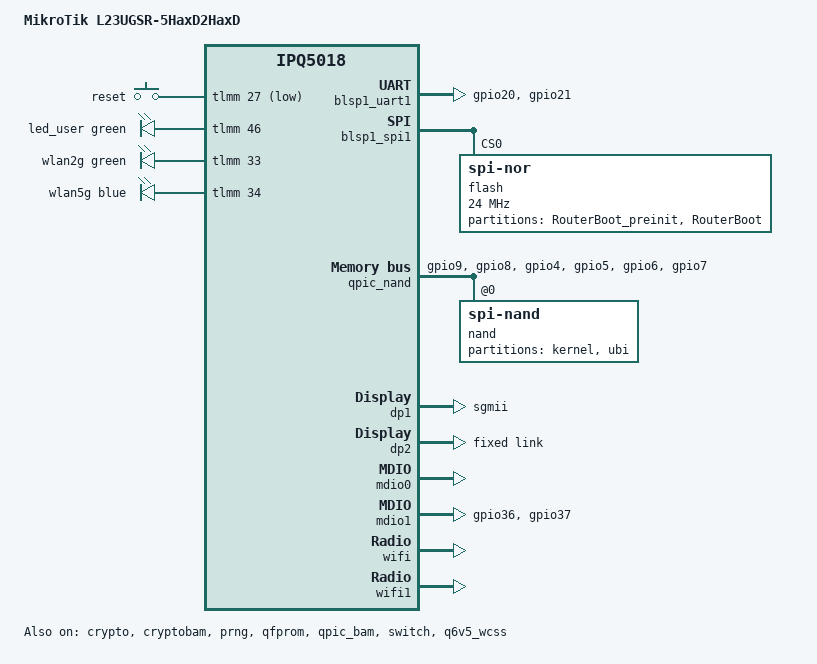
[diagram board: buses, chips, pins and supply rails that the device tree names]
// SPDX-License-Identifier: GPL-2.0-or-later OR MIT
/*
 * DRAFT device tree for MikroTik L23UGSR-5HaxD2HaxD
 * SoC: Qualcomm IPQ-5010 (IPQ5018-class "Maple")  ->  qualcommax/ipq50xx, SOC=ipq5018
 * Radios: 2.4GHz integrated IPQ5018 (ath11k) + 5GHz QCN-6102 (treated as QCN6122, AHB)
 * Storage: NOR (RouterBOOT + hard/soft_config)  +  128MB Winbond W25N01GW spi-nand (kernel+ubi)
 * Bootloader: MikroTik RouterBOOT (netboot ELF over BOOTP/TFTP; permanent kernel in UBI volume)
 *
 * NOTE: This is a DRAFT. Every value that needs a live-hardware recon dump is marked
 *       /* TODO(recon): ... *\/ with the best guess and the reference it was copied from.
 *       See RECON-CHECKLIST.md for exactly how to resolve each one.
 *
 * Template lineage:
 *   - SoC/radio/eth : ipq5018-mr3000d-ci.dts (IPQ5018 2.4G + QCN6102 5G) + ipq5018-ax830.dts
 *   - RouterBOOT    : qcom-ipq4019-hap-ac3.dts (MikroTik NAND, routerboot-partitions, nvmem MAC)
 *
 * CONFIRMED from live box 192.168.0.134 (RouterOS 7.18.2 REST) — see RECON-LIVE-ROUTEROS.md:
 *   - board-name/model = "L23UGSR-5HaxD2HaxD"; firmware-type ipq5000 (IPQ5010/IPQ5018-class)
 *   - RAM 256MB; NAND 128MB (bad-blocks 0); CPU ARM 2 cores @800MHz
 *   - RouterBOOT 7.16.1; boot-protocol=bootp (netboot via BOOTP+TFTP)
 *   - base MAC F4:1E:57:9F:F5:00 :  ether1=+0  sfp1=+1  radio1(2.4G)=+2  radio2(5G)=+3
 *
 * PIVOTAL RISK (confirmed-open): RouterOS userland is **32-bit ARM** while qualcommax/ipq50xx
 * is **aarch64-only**. It is unverified whether RouterBOOT hands the kernel off in AArch64
 * (64-bit kernel boots fine) or AArch32 (this DTS/target would not boot as-is). Resolve at
 * first serial netboot before trusting anything below.
 */

/dts-v1/;

#include "ipq5018.dtsi"
#include "ipq5018-ess.dtsi"
#include "ipq5018-qcn6122.dtsi"

#include <dt-bindings/gpio/gpio.h>
#include <dt-bindings/input/input.h>
#include <dt-bindings/leds/common.h>

/ {
	model = "MikroTik L23UGSR-5HaxD2HaxD";
	compatible = "mikrotik,l23ugsr-5haxd2haxd", "qcom,ipq5018";

	aliases {
		serial0 = &blsp1_uart1;
		/*
		 * TODO(recon): confirm which LED is the system/status LED and its color.
		 * Best guess from MikroTik hAP ac3: a blue "running" + red "fault".
		 */
		led-boot = &led_user;
		led-failsafe = &led_user;
		led-running = &led_user;
		led-upgrade = &led_user;
		label-mac-device = &dp1;
	};

	chosen {
		/*
		 * ipq50xx UBI rootfs. ubiblock index depends on the volume order created by
		 * the MikroTik NAND recipe; AX830/MR3000D-CI use ubiblock0_1. Verify after first
		 * NAND install. TODO(recon): confirm ubiblockN_M index.
		 */
		bootargs-append = " root=/dev/ubiblock0_1 swiotlb=1 coherent_pool=2M";
		stdout-path = "serial0:115200n8";
	};

	keys {
		compatible = "gpio-keys";
		pinctrl-0 = <&button_pins>;
		pinctrl-names = "default";

		/*
		 * TODO(recon): MikroTik boards typically have a single mode/reset button wired
		 * to RouterBOOT. Confirm GPIO number and active level.
		 * Best guess GPIO from ipq5018 boards: reset on a tlmm gpio in the 27..38 range.
		 */
		reset {
			label = "reset";
			gpios = <&tlmm 27 GPIO_ACTIVE_LOW>; /* TODO(recon): real GPIO (guess: hAP-style mode/reset) */
			linux,code = <KEY_RESTART>;
		};
	};

	leds {
		compatible = "gpio-leds";

		/*
		 * TODO(recon): real LED gpios + colors + functions. MikroTik L-series usually
		 * have a "user" LED plus per-interface LEDs. Values below are placeholders copied
		 * structurally from ipq5018-mr3000d-ci.dts (gpio-leds, ACTIVE_HIGH).
		 */
		led_user: led-0 {
			function = LED_FUNCTION_STATUS;        /* TODO(recon) */
			color = <LED_COLOR_ID_GREEN>;          /* TODO(recon) */
			gpios = <&tlmm 46 GPIO_ACTIVE_HIGH>;   /* TODO(recon): real GPIO */
		};

		wlan2g {
			function = LED_FUNCTION_WLAN_2GHZ;
			color = <LED_COLOR_ID_GREEN>;
			gpios = <&tlmm 33 GPIO_ACTIVE_HIGH>;   /* TODO(recon): real GPIO (guess from AX830 gpio33) */
			linux,default-trigger = "phy0radio";
		};

		wlan5g {
			function = LED_FUNCTION_WLAN_5GHZ;
			color = <LED_COLOR_ID_BLUE>;
			gpios = <&tlmm 34 GPIO_ACTIVE_HIGH>;   /* TODO(recon): real GPIO (guess from AX830 gpio34) */
			linux,default-trigger = "phy1radio";
		};
	};
};

&sleep_clk {
	clock-frequency = <32000>;
};

&xo_board_clk {
	clock-div = <4>;
	clock-mult = <1>;
};

&blsp1_uart1 {
	status = "okay";
	pinctrl-0 = <&serial_0_pins>;
	pinctrl-names = "default";
};

&crypto {
	status = "okay";
};

&cryptobam {
	status = "okay";
};

&prng {
	status = "okay";
};

&qfprom {
	status = "okay";
};

&qpic_bam {
	status = "okay";
};

/*
 * =====================================================================
 *  NOR flash on BLSP1 SPI1: MikroTik RouterBOOT + hard_config/soft_config
 *  Pattern copied from qcom-ipq4019-hap-ac3.dts. The routerbootpart parser
 *  discovers hard/soft/dtb_config offsets dynamically, so only the outer
 *  "RouterBoot" partition reg + the hard_config size need to be (roughly) right.
 * =====================================================================
 */
&blsp1_spi1 {
	status = "okay";

	/* TODO(recon): confirm CS gpio if RouterBOOT NOR needs an explicit chip-select.
	 * hAP ac3 uses cs-gpios = <&tlmm 12 GPIO_ACTIVE_LOW>; ipq5018 SoC CS may be native. */

	flash@0 {
		reg = <0>;
		compatible = "jedec,spi-nor";
		spi-max-frequency = <24000000>; /* TODO(recon): RouterBOOT NOR speed (hAP ac3 = 24MHz) */

		partitions {
			compatible = "fixed-partitions";
			#address-cells = <1>;
			#size-cells = <1>;

			/*
			 * TODO(recon): exact NOR partition offsets/sizes from `cat /proc/mtd`
			 * on the live box. Below mirrors hAP ac3 (0x80000 boot loader, 0x80000
			 * RouterBoot) which is the most likely MikroTik ARM layout.
			 */
			partition@0 {
				label = "RouterBoot_preinit"; /* MikroTik calls it "Qualcomm"/loader; TODO(recon) */
				reg = <0x0 0x80000>;          /* TODO(recon): real offset/size */
				read-only;
			};

			partition@80000 {
				compatible = "mikrotik,routerboot-partitions";
				#address-cells = <1>;
				#size-cells = <1>;
				label = "RouterBoot";
				reg = <0x80000 0x80000>;      /* TODO(recon): real offset/size of RouterBoot segment */

				hard_config {
					read-only;
					size = <0x2000>;          /* hAP ac3 value; routerbootpart finds the offset */

					nvmem-layout {
						compatible = "mikrotik,routerboot-nvmem";

						macaddr_hard: base-mac-address {
							#nvmem-cell-cells = <1>;
						};
					};
				};

				dtb_config {
					read-only;
				};

				soft_config {
				};
			};
		};
	};
};

/*
 * =====================================================================
 *  NAND: Winbond W25N01GW (128MB) under QPIC. spi-nand binding from AX830;
 *  fixed "kernel"+"ubi" layout from hAP ac3 (RouterBOOT loads the ELF kernel
 *  from the "kernel" UBI volume; rootfs lives in "ubi").
 * =====================================================================
 */
&qpic_nand {
	pinctrl-0 = <&qpic_pins>;
	pinctrl-names = "default";
	status = "okay";

	nand@0 {
		compatible = "spi-nand";
		reg = <0>;
		nand-ecc-engine = <&qpic_nand>;
		nand-bus-width = <8>;

		partitions {
			compatible = "fixed-partitions";
			#address-cells = <1>;
			#size-cells = <1>;

			/*
			 * TODO(recon): real NAND partition sizes from `cat /proc/mtd` after a
			 * RouterOS or first-boot inspection. Values below = hAP ac3 (kernel 10MB,
			 * ubi rest). 128MB W25N01GW total.
			 */
			partition@0 {
				label = "kernel";
				reg = <0x0 0xa00000>;          /* TODO(recon): real kernel volume size */
			};

			partition@a00000 {
				label = "ubi";
				reg = <0xa00000 0x7600000>;    /* TODO(recon): real ubi size (extend to chip end) */
			};
		};
	};
};

/*
 * =====================================================================
 *  Ethernet
 *  ether1 (1G copper) : MAC0 -> internal GE phy (mdio0 addr 7)  [AX830 dp1 pattern]
 *  2.5G SFP           : MAC1 -> uniphy -> SFP cage              [NOVEL — all TODO(recon)]
 * =====================================================================
 */
&switch {
	status = "okay";

	switch_mac_mode = <MAC_MODE_SGMII_CHANNEL0>;

	qcom,port_phyinfo {
		/* MAC0 -> internal GE Phy -> ether1 (1G copper) */
		port@1 {
			port_id = <1>;
			mdiobus = <&mdio0>;
			phy_address = <7>;
		};

		/*
		 * MAC1 -> Uniphy -> 2.5G SFP.
		 * TODO(recon): determine whether the SFP runs at 1G SGMII or 2.5G 2500BASE-X.
		 * If 2.5G, switch_mac_mode/port_mac_sel and phy-mode must change accordingly
		 * (cf. ipq8074 usxgmii boards). Best guess = forced 1G SGMII like MX2000 until
		 * confirmed.
		 */
		port@2 {
			port_id = <2>;
			forced-speed = <1000>;     /* TODO(recon): 2500 if 2.5G link */
			forced-duplex = <1>;
			/* TODO(recon): port_mac_sel / mdiobus for SFP PHY if managed via mdio1 */
		};
	};
};

/* ether1 : MAC0 -> internal GE phy */
&dp1 {
	status = "okay";

	label = "ether1";
	nvmem-cells = <&macaddr_hard 0>;          /* CONFIRMED: ether1 = base+0 (F4:1E:57:9F:F5:00) */
	nvmem-cell-names = "mac-address";
	phy-mode = "sgmii";
};

/* 2.5G SFP : MAC1 -> uniphy */
&dp2 {
	status = "okay";

	label = "sfp";
	nvmem-cells = <&macaddr_hard 1>;          /* CONFIRMED: sfp1 = base+1 (F4:1E:57:9F:F5:01) */
	nvmem-cell-names = "mac-address";

	/*
	 * CONFIRMED: sfp1 is 2.5G-baseT/baseX capable (RouterOS). So the real link is likely
	 * 2500base-x (or USXGMII). TODO(recon): replace fixed-link with a proper sfp phandle once
	 * the SFP cage's I2C bus + tx-disable/los/mod-def GPIOs are known. For 2.5G use
	 * phy-mode = "2500base-x"; the fixed-link below only brings the MAC up at 1G for the
	 * initial serial bring-up.
	 */
	fixed-link {
		speed = <1000>;                   /* TODO(recon): 2500 if 2.5G */
		full-duplex;
	};
	/* TODO(recon): sfp = <&sfp0>;  managed = "in-band-status"; */
};

&mdio0 {
	status = "okay";
};

&mdio1 {
	status = "okay";

	pinctrl-0 = <&mdio1_pins>;
	pinctrl-names = "default";
	/* TODO(recon): SFP/PHY reset-gpios if any (AX830 uses reset-gpios = <&tlmm 24 ...>) */

	/*
	 * TODO(recon): if the 2.5G side is a copper PHY (e.g. QCA8081 at addr 28 like AX830)
	 * rather than a bare SFP cage, declare it here and phy-handle it from dp2:
	 *
	 * qca8081: ethernet-phy@28 {
	 *     compatible = "ethernet-phy-id004d.d101";
	 *     reg = <28>;
	 *     reset-deassert-us = <10000>;
	 *     reset-gpios = <&tlmm 24 GPIO_ACTIVE_LOW>;  // TODO(recon)
	 * };
	 */
};

/* MAC0 -> internal GE phy */
&ge_phy {
	/* qcom,dac-preset-short-cable;  // enable if ether1 is on a short internal trace (PZ-L8 does) */
};

/*
 * =====================================================================
 *  SFP cage (DRAFT scaffold — entire block is TODO(recon))
 *  Pattern reference: ipq8074-rt-ax89x.dts sfp/sfp_i2c + GPIO lines.
 * =====================================================================
 *
 * sfp0: sfp {
 *     compatible = "sff,sfp";
 *     i2c-bus = <&sfp_i2c>;                       // TODO(recon): which I2C controller/bus
 *     mod-def0-gpios = <&tlmm XX GPIO_ACTIVE_LOW>; // TODO(recon)
 *     los-gpios      = <&tlmm XX GPIO_ACTIVE_HIGH>;// TODO(recon)
 *     tx-disable-gpios = <&tlmm XX GPIO_ACTIVE_HIGH>; // TODO(recon)
 *     tx-fault-gpios = <&tlmm XX GPIO_ACTIVE_HIGH>;// TODO(recon)
 *     maximum-power-milliwatt = <2000>;           // TODO(recon)
 * };
 */

&tlmm {
	/*
	 * TODO(recon): ALL pin groups below are best-guess copies from ipq5018-ax830.dts /
	 * ipq5018-mr3000d-ci.dts. Verify each pin against the L23 schematic / RouterBOOT.
	 */
	button_pins: button-state {
		pins = "gpio27";                /* TODO(recon): real reset/mode pin(s) */
		function = "gpio";
		drive-strength = <8>;
		bias-pull-up;
	};

	mdio1_pins: mdio-state {
		mdc-pins {
			pins = "gpio36";
			function = "mdc";
			drive-strength = <8>;
			bias-pull-up;
		};

		mdio-pins {
			pins = "gpio37";
			function = "mdio";
			drive-strength = <8>;
			bias-pull-up;
		};
	};

	qpic_pins: qpic-state {
		clock-pins {
			pins = "gpio9";
			function = "qspi_clk";
			drive-strength = <8>;
			bias-disable;
		};

		cs-pins {
			pins = "gpio8";
			function = "qspi_cs";
			drive-strength = <8>;
			bias-disable;
		};

		data-pins {
			pins = "gpio4", "gpio5", "gpio6", "gpio7";
			function = "qspi_data";
			drive-strength = <8>;
			bias-disable;
		};
	};

	serial_0_pins: uart0-state {
		pins = "gpio20", "gpio21";      /* TODO(recon): confirm UART pins (AX830 gpio20/21; MR3000D-CI gpio28/29) */
		function = "blsp0_uart0";
		drive-strength = <8>;
		bias-disable;
	};
};

/*
 * =====================================================================
 *  Radios
 *  wifi  : IPQ5018 2.4GHz  (wifi@c000000, from ipq5018.dtsi)
 *  wifi1 : QCN6102 5GHz    (wifi@b00a040, from ipq5018-qcn6122.dtsi)
 *  Pattern: ipq5018-mr3000d-ci.dts (exact radio combo)
 * =====================================================================
 */
&q6v5_wcss {
	status = "okay";

	/* QCN6102 maps to UPD ID 2; without bootargs firmware expects UPD ID 3. */
	boot-args = <
		/* type:       */ 0x1   /* PCIE0 */
		/* length:     */ 4
		/* UPD ID:     */ 2
		/* reset GPIO: */ 15    /* TODO(recon): confirm QCN6102 reset GPIO (MR3000D-CI/MX2000 = 15) */
		/* reserved:   */ 0 0>;
};

&wifi {
	/* IPQ5018 2.4GHz — RouterOS radio1, MAC = base+2 (F4:1E:57:9F:F5:02) for caldata patch */
	status = "okay";

	qcom,rproc = <&q6_wcss_pd1>;
	qcom,ath11k-calibration-variant = "MikroTik-L23UGSR";
	qcom,ath11k-fw-memory-mode = <1>;
	qcom,bdf-addr = <0x4c400000>;
};

&wifi1 {
	/* QCN6102 5GHz (treated as QCN6122) — RouterOS radio2, MAC = base+3 (F4:1E:57:9F:F5:03) */
	status = "okay";

	qcom,rproc = <&q6_wcss_pd2>;
	qcom,userpd-subsys-name = "q6v5_wcss_userpd2";
	qcom,ath11k-calibration-variant = "MikroTik-L23UGSR";
	qcom,ath11k-fw-memory-mode = <1>;
	qcom,bdf-addr = <0x4d100000>;
	qcom,m3-dump-addr = <0x4df00000>;
};
